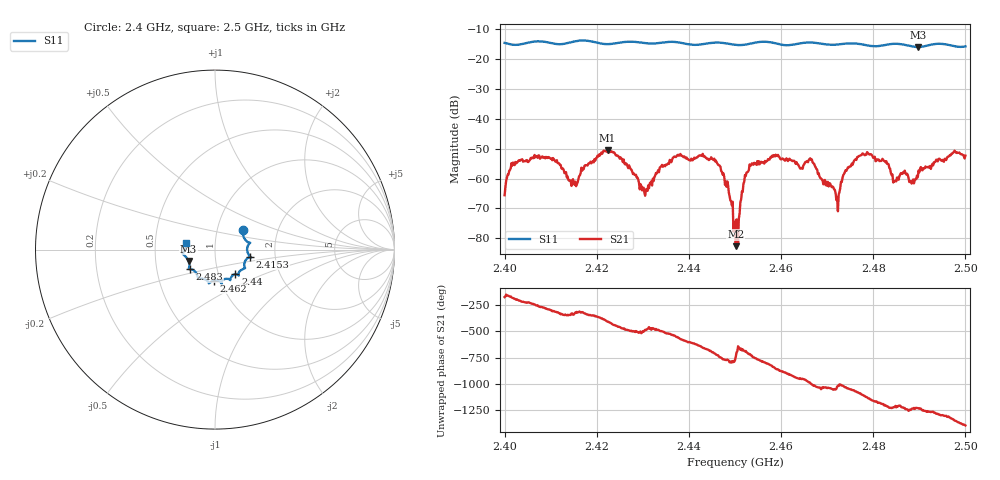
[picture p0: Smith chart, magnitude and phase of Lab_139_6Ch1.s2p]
# Hz S RI R 50
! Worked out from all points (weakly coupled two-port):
!   601 points, 2.4 GHz to 2.5 GHz, reference 50 ohm
!   highest |S21| = -50.59 dB at 2.4223 GHz (marker M1); lowest = -82.7 dB at 2.4502 GHz (marker M2)
!   lowest |S11| = -15.9 dB at 2.4897 GHz (marker M3), VSWR 1.38, Z = 36.9 - j4.8 ohm
!   |S11| at or under -10 dB: start of sweep to end of sweep
!   S12 and S22 are empty: the file has one direction only
!   S11 on the Smith chart (normalised r, x): 2.4 GHz: 1.33, +0.29; 2.4153 GHz: 1.48, -0.12; 2.44 GHz: 1.20, -0.34; 2.462 GHz: 0.93, -0.33; 2.483 GHz: 0.74, -0.17; 2.5 GHz: 0.72, +0.06
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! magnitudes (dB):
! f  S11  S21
! 2.4 GHz  -14.5  -65.6
! 2.4018 GHz  -15.1  -54.6
! 2.407 GHz  -14.0  -52.6
! 2.4153 GHz  -14.0  -61.0
! 2.4167 GHz  -13.7  -56.3
! 2.4223 GHz  -14.9  -50.6
! 2.4303 GHz  -14.6  -64.6
! 2.4333 GHz  -14.6  -57.2
! 2.44 GHz  -15.0  -53.8
! 2.4463 GHz  -14.4  -55.4
! 2.45 GHz  -15.1  -74.7
! 2.4502 GHz  -15.2  -82.7
! 2.452 GHz  -15.1  -61.0
! 2.4537 GHz  -14.6  -54.9
! 2.462 GHz  -15.2  -53.7
! 2.4667 GHz  -14.4  -53.6
! 2.4722 GHz  -15.1  -66.4
! 2.4772 GHz  -14.9  -52.3
! 2.483 GHz  -15.1  -55.1
! 2.4833 GHz  -15.0  -55.2
! 2.4897 GHz  -15.9  -59.6
! 2.5 GHz  -15.7  -52.3
